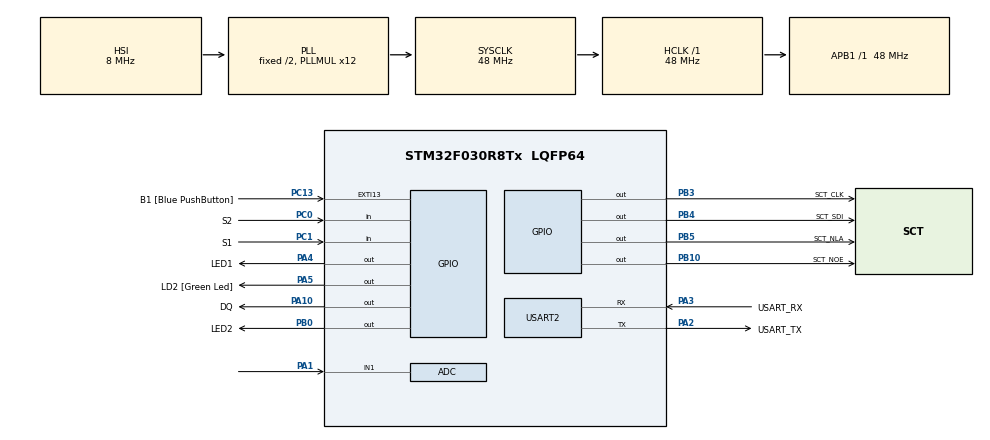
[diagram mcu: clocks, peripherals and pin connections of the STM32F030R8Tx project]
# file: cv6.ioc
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ADC.ContinuousConvMode=ENABLE
ADC.Resolution=ADC_RESOLUTION_10B
Mcu.Family=STM32F0
Mcu.Name=STM32F030R8Tx
Mcu.Package=LQFP64
PA1.Mode=IN1
PA1.Signal=ADC_IN1
PA10.GPIO_Label=DQ
PA10.GPIO_ModeDefaultOutputPP=GPIO_MODE_OUTPUT_OD
PA10.GPIO_PuPd=GPIO_NOPULL
PA10.PinState=GPIO_PIN_SET
PA10.Signal=GPIO_Output
PA13.GPIO_Label=TMS
PA13.Mode=Serial_Wire
PA13.Signal=SYS_SWDIO
PA14.GPIO_Label=TCK
PA14.Mode=Serial_Wire
PA14.Signal=SYS_SWCLK
PA2.GPIO_Label=USART_TX
PA2.GPIO_Mode=GPIO_MODE_AF_PP
PA2.GPIO_PuPd=GPIO_NOPULL
PA2.GPIO_Speed=GPIO_SPEED_FREQ_LOW
PA2.Mode=Asynchronous
PA2.Signal=USART2_TX
PA3.GPIO_Label=USART_RX
PA3.GPIO_Mode=GPIO_MODE_AF_PP
PA3.GPIO_PuPd=GPIO_NOPULL
PA3.GPIO_Speed=GPIO_SPEED_FREQ_LOW
PA3.Mode=Asynchronous
PA3.Signal=USART2_RX
PA4.GPIO_Label=LED1
PA4.Signal=GPIO_Output
PA5.GPIO_Label=LD2 [Green Led]
PA5.GPIO_Mode=GPIO_MODE_OUTPUT_PP
PA5.GPIO_PuPd=GPIO_NOPULL
PA5.GPIO_Speed=GPIO_SPEED_FREQ_LOW
PA5.Signal=GPIO_Output
PB0.GPIO_Label=LED2
PB0.Signal=GPIO_Output
PB10.GPIO_Label=SCT_NOE
PB10.Signal=GPIO_Output
PB3.GPIO_Label=SCT_CLK
PB3.Signal=GPIO_Output
PB4.GPIO_Label=SCT_SDI
PB4.Signal=GPIO_Output
PB5.GPIO_Label=SCT_NLA
PB5.Signal=GPIO_Output
PC0.GPIO_Label=S2
PC0.GPIO_PuPd=GPIO_PULLUP
PC0.Signal=GPIO_Input
PC1.GPIO_Label=S1
PC1.GPIO_PuPd=GPIO_PULLUP
PC1.Signal=GPIO_Input
PC13.GPIO_Label=B1 [Blue PushButton]
PC13.GPIO_ModeDefaultEXTI=GPIO_MODE_IT_FALLING
PC13.Signal=GPXTI13
PC14-OSC32_IN.Mode=LSE-External-Oscillator
PC14-OSC32_IN.Signal=RCC_OSC32_IN
PC15-OSC32_OUT.Mode=LSE-External-Oscillator
PC15-OSC32_OUT.Signal=RCC_OSC32_OUT
PF0-OSC_IN.Mode=HSE-External-Clock-Source
PF0-OSC_IN.Signal=RCC_OSC_IN
PF1-OSC_OUT.Signal=RCC_OSC_OUT
ProjectManager.HeapSize=0x200
ProjectManager.StackSize=0x400
ProjectManager.TargetToolchain=STM32CubeIDE
RCC.AHBFreq_Value=48000000
RCC.APB1Freq_Value=48000000
RCC.APB1TimFreq_Value=48000000
RCC.HCLKFreq_Value=48000000
RCC.PLLMUL=RCC_PLL_MUL12
RCC.SYSCLKFreq_VALUE=48000000
RCC.SYSCLKSource=RCC_SYSCLKSOURCE_PLLCLK
USART2.VirtualMode-Asynchronous=VM_ASYNC
board=NUCLEO-F030R8

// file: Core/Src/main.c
/* USER CODE BEGIN Header */
/**
  ******************************************************************************
  * @file           : main.c
  * @brief          : Main program body
  ******************************************************************************
  * @attention
  *
  * Copyright (c) 2023 STMicroelectronics.
  * All rights reserved.
  *
  * This software is licensed under terms that can be found in the LICENSE file
  * in the root directory of this software component.
  * If no LICENSE file comes with this software, it is provided AS-IS.
  *
  ******************************************************************************
  */
/* USER CODE END Header */
#include "main.h"

/* USER CODE BEGIN Includes */
#include "sct.h"
#include "1wire.h"
#include "data.dlm"
/* USER CODE END Includes */

/* USER CODE BEGIN PTD */
#define CONVERT_T_DELAY 750
/* USER CODE END PTD */

ADC_HandleTypeDef hadc;

UART_HandleTypeDef huart2;

void SystemClock_Config(void);
static void MX_GPIO_Init(void);
static void MX_USART2_UART_Init(void);
static void MX_ADC_Init(void);

int main(void)
{

  /* MCU Configuration--------------------------------------------------------*/

  /* Reset of all peripherals, Initializes the Flash interface and the Systick. */
  HAL_Init();

  /* Configure the system clock */
  SystemClock_Config();

  /* Initialize all configured peripherals */
  MX_GPIO_Init();
  MX_USART2_UART_Init();
  MX_ADC_Init();
  /* USER CODE BEGIN 2 */
  sct_init();
  OWInit();

  HAL_ADCEx_Calibration_Start(&hadc);
  HAL_ADC_Start(&hadc);
  /* USER CODE END 2 */

  /* Infinite loop */
  while (1)
  {

    /* USER CODE BEGIN 3 */

	  int16_t temp_18b20;
	  uint16_t temp_NTC;

	  if (!HAL_GPIO_ReadPin(S2_GPIO_Port, S2_Pin))
	  {
		  temp_NTC = lookup[HAL_ADC_GetValue(&hadc)];
		  	  HAL_Delay(CONVERT_T_DELAY);
		  	  sct_value(temp_NTC,2);
		  	  HAL_GPIO_WritePin(LED1_GPIO_Port, LED1_Pin,1);
		      HAL_GPIO_WritePin(LED2_GPIO_Port, LED2_Pin,0);
	  }

	  if (!HAL_GPIO_ReadPin(S1_GPIO_Port, S1_Pin))
	  {
		  OWConvertAll();
		  HAL_Delay(CONVERT_T_DELAY);
		  OWReadTemperature(&temp_18b20);
		  temp_18b20 /= 10;
		  sct_value(temp_18b20,2);
		  HAL_GPIO_WritePin(LED1_GPIO_Port, LED1_Pin,0);
		  HAL_GPIO_WritePin(LED2_GPIO_Port, LED2_Pin,1);

	  }

  }
  /* USER CODE END 3 */
}

void SystemClock_Config(void)
{
  RCC_OscInitTypeDef RCC_OscInitStruct = {0};
  RCC_ClkInitTypeDef RCC_ClkInitStruct = {0};

  /** Initializes the RCC Oscillators according to the specified parameters
  * in the RCC_OscInitTypeDef structure.
  */
  RCC_OscInitStruct.OscillatorType = RCC_OSCILLATORTYPE_HSI|RCC_OSCILLATORTYPE_HSI14;
  RCC_OscInitStruct.HSIState = RCC_HSI_ON;
  RCC_OscInitStruct.HSI14State = RCC_HSI14_ON;
  RCC_OscInitStruct.HSICalibrationValue = RCC_HSICALIBRATION_DEFAULT;
  RCC_OscInitStruct.HSI14CalibrationValue = 16;
  RCC_OscInitStruct.PLL.PLLState = RCC_PLL_ON;
  RCC_OscInitStruct.PLL.PLLSource = RCC_PLLSOURCE_HSI;
  RCC_OscInitStruct.PLL.PLLMUL = RCC_PLL_MUL12;
  RCC_OscInitStruct.PLL.PREDIV = RCC_PREDIV_DIV1;
  if (HAL_RCC_OscConfig(&RCC_OscInitStruct) != HAL_OK)
  {
    Error_Handler();
  }

  /** Initializes the CPU, AHB and APB buses clocks
  */
  RCC_ClkInitStruct.ClockType = RCC_CLOCKTYPE_HCLK|RCC_CLOCKTYPE_SYSCLK
                              |RCC_CLOCKTYPE_PCLK1;
  RCC_ClkInitStruct.SYSCLKSource = RCC_SYSCLKSOURCE_PLLCLK;
  RCC_ClkInitStruct.AHBCLKDivider = RCC_SYSCLK_DIV1;
  RCC_ClkInitStruct.APB1CLKDivider = RCC_HCLK_DIV1;

  if (HAL_RCC_ClockConfig(&RCC_ClkInitStruct, FLASH_LATENCY_1) != HAL_OK)
  {
    Error_Handler();
  }
}

static void MX_ADC_Init(void)
{

  ADC_ChannelConfTypeDef sConfig = {0};

  /** Configure the global features of the ADC (Clock, Resolution, Data Alignment and number of conversion)
  */
  hadc.Instance = ADC1;
  hadc.Init.ClockPrescaler = ADC_CLOCK_ASYNC_DIV1;
  hadc.Init.Resolution = ADC_RESOLUTION_10B;
  hadc.Init.DataAlign = ADC_DATAALIGN_RIGHT;
  hadc.Init.ScanConvMode = ADC_SCAN_DIRECTION_FORWARD;
  hadc.Init.EOCSelection = ADC_EOC_SINGLE_CONV;
  hadc.Init.LowPowerAutoWait = DISABLE;
  hadc.Init.LowPowerAutoPowerOff = DISABLE;
  hadc.Init.ContinuousConvMode = ENABLE;
  hadc.Init.DiscontinuousConvMode = DISABLE;
  hadc.Init.ExternalTrigConv = ADC_SOFTWARE_START;
  hadc.Init.ExternalTrigConvEdge = ADC_EXTERNALTRIGCONVEDGE_NONE;
  hadc.Init.DMAContinuousRequests = DISABLE;
  hadc.Init.Overrun = ADC_OVR_DATA_PRESERVED;
  if (HAL_ADC_Init(&hadc) != HAL_OK)
  {
    Error_Handler();
  }

  /** Configure for the selected ADC regular channel to be converted.
  */
  sConfig.Channel = ADC_CHANNEL_1;
  sConfig.Rank = ADC_RANK_CHANNEL_NUMBER;
  sConfig.SamplingTime = ADC_SAMPLETIME_1CYCLE_5;
  if (HAL_ADC_ConfigChannel(&hadc, &sConfig) != HAL_OK)
  {
    Error_Handler();
  }

}

static void MX_USART2_UART_Init(void)
{

  huart2.Instance = USART2;
  huart2.Init.BaudRate = 38400;
  huart2.Init.WordLength = UART_WORDLENGTH_8B;
  huart2.Init.StopBits = UART_STOPBITS_1;
  huart2.Init.Parity = UART_PARITY_NONE;
  huart2.Init.Mode = UART_MODE_TX_RX;
  huart2.Init.HwFlowCtl = UART_HWCONTROL_NONE;
  huart2.Init.OverSampling = UART_OVERSAMPLING_16;
  huart2.Init.OneBitSampling = UART_ONE_BIT_SAMPLE_DISABLE;
  huart2.AdvancedInit.AdvFeatureInit = UART_ADVFEATURE_NO_INIT;
  if (HAL_UART_Init(&huart2) != HAL_OK)
  {
    Error_Handler();
  }

}

static void MX_GPIO_Init(void)
{
  GPIO_InitTypeDef GPIO_InitStruct = {0};

  /* GPIO Ports Clock Enable */
  __HAL_RCC_GPIOC_CLK_ENABLE();
  __HAL_RCC_GPIOF_CLK_ENABLE();
  __HAL_RCC_GPIOA_CLK_ENABLE();
  __HAL_RCC_GPIOB_CLK_ENABLE();

  /*Configure GPIO pin Output Level */
  HAL_GPIO_WritePin(GPIOA, LED1_Pin|LD2_Pin, GPIO_PIN_RESET);

  /*Configure GPIO pin Output Level */
  HAL_GPIO_WritePin(GPIOB, LED2_Pin|SCT_NOE_Pin|SCT_CLK_Pin|SCT_SDI_Pin
                          |SCT_NLA_Pin, GPIO_PIN_RESET);

  /*Configure GPIO pin Output Level */
  HAL_GPIO_WritePin(DQ_GPIO_Port, DQ_Pin, GPIO_PIN_SET);

  /*Configure GPIO pin : B1_Pin */
  GPIO_InitStruct.Pin = B1_Pin;
  GPIO_InitStruct.Mode = GPIO_MODE_IT_FALLING;
  GPIO_InitStruct.Pull = GPIO_NOPULL;
  HAL_GPIO_Init(B1_GPIO_Port, &GPIO_InitStruct);

  /*Configure GPIO pins : S2_Pin S1_Pin */
  GPIO_InitStruct.Pin = S2_Pin|S1_Pin;
  GPIO_InitStruct.Mode = GPIO_MODE_INPUT;
  GPIO_InitStruct.Pull = GPIO_PULLUP;
  HAL_GPIO_Init(GPIOC, &GPIO_InitStruct);

  /*Configure GPIO pins : LED1_Pin LD2_Pin */
  GPIO_InitStruct.Pin = LED1_Pin|LD2_Pin;
  GPIO_InitStruct.Mode = GPIO_MODE_OUTPUT_PP;
  GPIO_InitStruct.Pull = GPIO_NOPULL;
  GPIO_InitStruct.Speed = GPIO_SPEED_FREQ_LOW;
  HAL_GPIO_Init(GPIOA, &GPIO_InitStruct);

  /*Configure GPIO pins : LED2_Pin SCT_NOE_Pin SCT_CLK_Pin SCT_SDI_Pin
                           SCT_NLA_Pin */
  GPIO_InitStruct.Pin = LED2_Pin|SCT_NOE_Pin|SCT_CLK_Pin|SCT_SDI_Pin
                          |SCT_NLA_Pin;
  GPIO_InitStruct.Mode = GPIO_MODE_OUTPUT_PP;
  GPIO_InitStruct.Pull = GPIO_NOPULL;
  GPIO_InitStruct.Speed = GPIO_SPEED_FREQ_LOW;
  HAL_GPIO_Init(GPIOB, &GPIO_InitStruct);

  /*Configure GPIO pin : DQ_Pin */
  GPIO_InitStruct.Pin = DQ_Pin;
  GPIO_InitStruct.Mode = GPIO_MODE_OUTPUT_OD;
  GPIO_InitStruct.Pull = GPIO_NOPULL;
  GPIO_InitStruct.Speed = GPIO_SPEED_FREQ_LOW;
  HAL_GPIO_Init(DQ_GPIO_Port, &GPIO_InitStruct);

}

void Error_Handler(void)
{
  __disable_irq();
  while (1)
  {
  }
}
